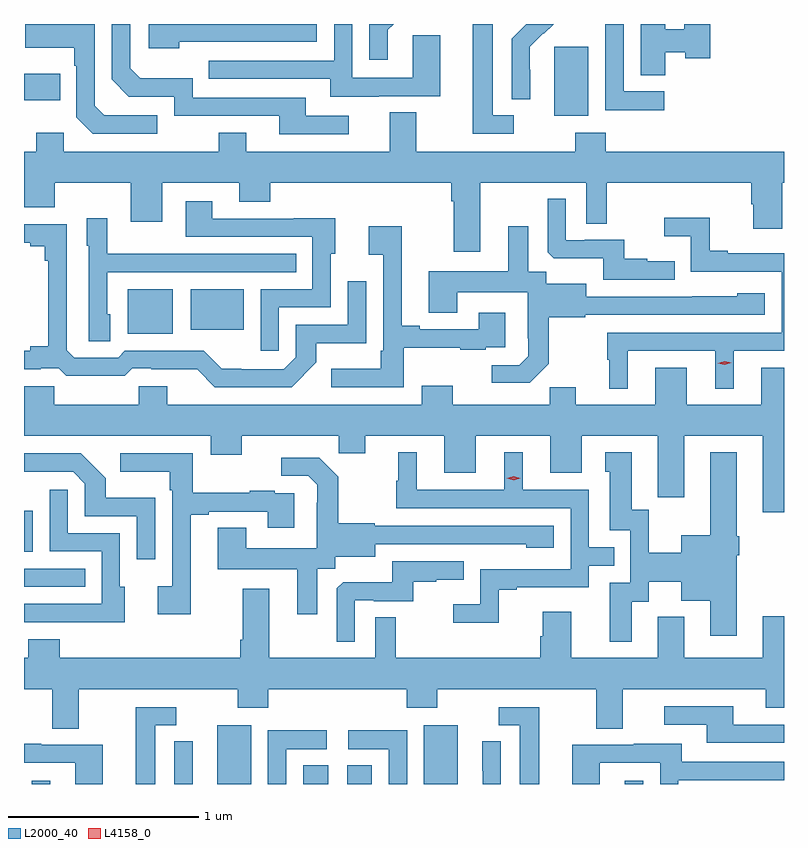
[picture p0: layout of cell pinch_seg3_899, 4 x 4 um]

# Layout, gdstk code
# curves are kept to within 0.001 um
import gdstk
lib = gdstk.Library(unit=1e-6, precision=1e-09)
def R(c, l, rs):  # rectangles x0, y0, x1, y1
    for r in rs: c.add(gdstk.rectangle(r[:2], r[2:], *l))
def P(c, l, *ps):  # polygons
    for p in ps: c.add(gdstk.Polygon(p, *l))
L2000_40 = (2000, 40)
L4158_0 = (4158, 0)

pinch_seg3_899 = lib.new_cell('pinch_seg3_899')
R(pinch_seg3_899, L2000_40, [(820.158,675.108,820.255,675.124), (821.132,675.108,821.311,675.418), (821.585,675.108,821.716,675.206), (821.816,675.108,821.947,675.206), (822.221,675.108,822.4,675.418), (823.277,675.108,823.374,675.124), (820.116,676.146,820.439,676.242), (820.116,676.331,820.162,676.546), (820.661,677.477,820.9,677.713), (820.994,677.498,821.272,677.713), (822.908,678.626,823.087,678.987), (820.116,678.707,820.307,678.847)])
P(pinch_seg3_899, L2000_40, [(820.934,679.014),(821.658,679.014),(821.658,679.108),(820.773,679.108),(820.773,678.98),(820.934,678.98)],
  [(822.694,678.627),(822.583,678.627),(822.583,679.108),(822.479,679.108),(822.479,678.531),(822.694,678.531)],
  [(822.031,679.077),(822.062,679.108),(821.934,679.108),(821.934,678.921),(822.031,678.921)],
  [(823.492,678.959),(823.596,678.959),(823.596,678.929),(823.727,678.929),(823.727,679.108),(823.592,679.108),(823.592,679.081),(823.492,679.081),(823.492,679.108),(823.361,679.108),(823.361,678.838),(823.492,678.838)],
  [(821.983,678.729),(822.307,678.729),(822.307,679.049),(822.162,679.049),(822.162,678.825),(821.844,678.825),(821.844,679.108),(821.748,679.108),(821.748,678.915),(821.089,678.915),(821.089,678.819),(821.729,678.819),(821.729,678.725),(821.983,678.725)],
  [(822.78,678.866),(822.779,678.866),(822.779,678.989),(822.849,679.059),(822.852,679.056),(822.904,679.108),(822.76,679.108),(822.756,679.104),(822.757,679.103),(822.684,679.03),(822.684,678.712),(822.78,678.712)],
  [(823.486,678.753),(823.272,678.753),(823.272,679.108),(823.174,679.108),(823.174,679.084),(823.176,679.084),(823.176,678.655),(823.486,678.655)],
  [(821.824,678.624),(821.599,678.624),(821.599,678.72),(821.004,678.72),(821.004,678.823),(820.727,678.823),(820.674,678.876),(820.674,679.108),(820.578,679.108),(820.578,678.816),(820.668,678.726),(820.908,678.726),(820.908,678.624),(821.459,678.624),(821.459,678.528),(821.824,678.528)],
  [(820.816,678.627),(820.539,678.627),(820.488,678.678),(820.488,679.108),(820.123,679.108),(820.123,678.983),(820.38,678.983),(820.38,678.887),(820.392,678.887),(820.392,678.618),(820.479,678.531),(820.816,678.531)],
  [(822.517,678.272),(823.074,678.272),(823.074,678.058),(823.183,678.058),(823.183,678.272),(823.943,678.272),(823.943,678.159),(823.955,678.159),(823.955,678.03),(824.107,678.03),(824.107,678.272),(824.116,678.272),(824.116,678.436),(823.178,678.436),(823.178,678.535),(823.018,678.535),(823.018,678.436),(822.181,678.436),(822.181,678.644),(822.041,678.644),(822.041,678.436),(821.287,678.436),(821.287,678.535),(821.14,678.535),(821.14,678.436),(820.326,678.436),(820.326,678.535),(820.18,678.535),(820.18,678.436),(820.116,678.436),(820.116,678.144),(820.279,678.144),(820.279,678.272),(820.679,678.272),(820.679,678.066),(820.843,678.066),(820.843,678.272),(821.249,678.272),(821.249,678.173),(821.413,678.173),(821.413,678.272),(822.365,678.272),(822.365,678.176),(822.377,678.176),(822.377,677.91),(822.517,677.91)],
  [(823.541,677.86),(823.397,677.86),(823.397,677.872),(823.274,677.872),(823.274,677.973),(823.066,677.973),(823.066,677.97),(822.966,677.97),(822.966,678.187),(822.873,678.187),(822.873,677.907),(822.905,677.876),(823.164,677.876),(823.164,677.763),(823.541,677.763)],
  [(821.457,677.616),(821.73,677.616),(821.73,677.898),(821.755,677.898),(821.755,678.086),(821.537,678.086),(821.537,678.084),(821.107,678.084),(821.107,678.175),(820.967,678.175),(820.967,677.988),(821.634,677.988),(821.634,677.712),(821.361,677.712),(821.361,677.388),(821.457,677.388)],
  [(823.294,677.388),(823.754,677.388),(823.754,677.189),(823.852,677.189),(823.852,677.388),(824.116,677.388),(824.116,677.901),(823.819,677.901),(823.819,677.914),(823.725,677.914),(823.725,678.089),(823.485,678.089),(823.485,677.99),(823.626,677.99),(823.626,677.805),(824.103,677.805),(824.103,677.484),(823.185,677.484),(823.185,677.34),(823.196,677.34),(823.196,677.189),(823.294,677.189)],
  [(820.57,677.58),(820.554,677.58),(820.554,677.802),(821.549,677.802),(821.549,677.898),(820.871,677.898),(820.871,677.899),(820.554,677.899),(820.554,678.085),(820.445,678.085),(820.445,677.94),(820.458,677.94),(820.458,677.437),(820.57,677.437)],
  [(821.655,677.327),(821.655,677.429),(821.916,677.429),(821.916,677.755),(821.82,677.755),(821.82,677.526),(821.547,677.526),(821.547,677.355),(821.484,677.292),(821.26,677.292),(821.26,677.294),(821.156,677.294),(821.061,677.388),(820.647,677.388),(820.611,677.352),(820.38,677.352),(820.341,677.391),(820.341,678.054),(820.116,678.054),(820.116,677.957),(820.148,677.957),(820.148,677.938),(820.225,677.938),(820.225,677.861),(820.244,677.861),(820.244,677.411),(820.148,677.411),(820.148,677.388),(820.116,677.388),(820.116,677.291),(820.205,677.291),(820.205,677.295),(820.299,677.295),(820.339,677.256),(820.647,677.256),(820.686,677.295),(820.786,677.295),(820.786,677.291),(821.027,677.291),(821.121,677.196),(821.524,677.196)],
  [(822.879,677.319),(822.879,677.565),(823.071,677.565),(823.071,677.577),(824.014,677.577),(824.014,677.692),(823.869,677.692),(823.869,677.674),(823.075,677.673),(823.075,677.74),(822.864,677.74),(822.864,677.804),(822.769,677.804),(822.769,678.043),(822.665,678.043),(822.665,677.806),(822.245,677.806),(822.245,677.587),(822.397,677.587),(822.397,677.696),(822.768,677.696),(822.768,677.455),(822.77,677.455),(822.77,677.36),(822.723,677.313),(822.579,677.313),(822.579,677.219),(822.779,677.219)],
  [(822.115,677.405),(822.413,677.405),(822.413,677.394),(822.545,677.394),(822.545,677.406),(822.649,677.406),(822.649,677.587),(822.509,677.587),(822.509,677.502),(822.199,677.502),(822.199,677.521),(822.103,677.521),(822.103,678.043),(821.931,678.043),(821.931,677.894),(822.006,677.894),(822.006,677.389),(821.994,677.389),(821.994,677.293),(821.733,677.293),(821.733,677.196),(822.115,677.196)],
  [(824.116,677.299),(823.997,677.299),(823.997,677.104),(823.603,677.104),(823.603,677.299),(823.439,677.299),(823.439,677.104),(823.021,677.104),(823.021,677.195),(822.883,677.195),(822.883,677.104),(822.373,677.104),(822.373,677.203),(822.209,677.203),(822.209,677.104),(820.87,677.104),(820.87,677.202),(820.72,677.202),(820.72,677.104),(820.275,677.104),(820.275,677.202),(820.116,677.202),(820.116,676.94),(821.099,676.94),(821.099,676.841),(821.263,676.841),(821.263,676.94),(821.773,676.94),(821.773,676.85),(821.911,676.85),(821.911,676.94),(822.329,676.94),(822.329,676.746),(822.493,676.746),(822.493,676.94),(822.887,676.94),(822.887,676.746),(823.051,676.746),(823.051,676.94),(823.451,676.94),(823.451,676.729),(823.452,676.729),(823.452,676.617),(823.591,676.617),(823.591,676.94),(824.003,676.94),(824.003,676.539),(824.116,676.539)],
  [(822.615,676.131),(822.709,676.131),(822.709,676.143),(823.089,676.143),(823.089,676.257),(823.223,676.257),(823.223,676.353),(823.089,676.353),(823.089,676.656),(822.742,676.656),(822.742,676.855),(822.644,676.855),(822.644,676.656),(822.184,676.656),(822.184,676.855),(822.086,676.855),(822.086,676.704),(822.075,676.704),(822.075,676.56),(822.993,676.56),(822.993,676.239),(822.516,676.239),(822.516,676.054),(822.375,676.054),(822.375,675.956),(822.615,675.956)],
  [(823.315,676.066),(823.405,676.066),(823.405,676.172),(823.574,676.172),(823.574,676.073),(823.727,676.073),(823.727,675.888),(823.867,675.888),(823.867,676.313),(823.88,676.313),(823.88,676.413),(823.867,676.413),(823.867,676.855),(823.727,676.855),(823.727,676.417),(823.574,676.417),(823.574,676.324),(823.404,676.324),(823.404,676.551),(823.315,676.551),(823.315,676.855),(823.175,676.855),(823.175,676.752),(823.199,676.752),(823.199,676.443),(823.308,676.443),(823.308,676.167),(823.199,676.167),(823.199,675.858),(823.315,675.858)],
  [(820.806,676.615),(820.545,676.615),(820.545,676.718),(820.414,676.848),(820.116,676.848),(820.116,676.751),(820.374,676.752),(820.437,676.689),(820.437,676.518),(820.71,676.518),(820.71,676.29),(820.806,676.29)],
  [(820.993,676.524),(821.089,676.524),(821.089,676.542),(821.399,676.542),(821.399,676.458),(821.539,676.458),(821.539,676.638),(821.435,676.638),(821.435,676.651),(821.303,676.651),(821.303,676.64),(821.005,676.64),(821.005,676.848),(820.623,676.848),(820.623,676.751),(820.884,676.751),(820.884,676.655),(820.896,676.655),(820.896,676.15),(820.821,676.15),(820.821,676.002),(820.993,676.002)],
  [(821.659,676.24),(821.754,676.24),(821.754,676.304),(821.965,676.304),(821.965,676.371),(822.759,676.37),(822.759,676.352),(822.904,676.352),(822.904,676.467),(821.961,676.467),(821.961,676.48),(821.769,676.48),(821.769,676.725),(821.669,676.825),(821.469,676.825),(821.469,676.731),(821.613,676.731),(821.66,676.684),(821.66,676.589),(821.658,676.589),(821.658,676.348),(821.287,676.348),(821.287,676.457),(821.135,676.457),(821.135,676.238),(821.555,676.238),(821.555,676.002),(821.659,676.002)],
  [(820.645,676.146),(820.62,676.146),(820.62,676.428),(820.347,676.428),(820.347,676.657),(820.251,676.657),(820.251,676.332),(820.524,676.332),(820.524,676.056),(820.116,676.056),(820.116,675.96),(820.427,675.96),(820.427,675.959),(820.645,675.959)],
  [(821.856,676.074),(821.956,676.074),(821.956,676.071),(822.164,676.071),(822.164,676.173),(822.287,676.173),(822.287,676.184),(822.431,676.184),(822.431,676.281),(822.054,676.281),(822.054,676.169),(821.795,676.169),(821.763,676.137),(821.763,675.857),(821.856,675.857)],
  [(820.405,675.608),(821.242,675.608),(821.242,675.509),(821.402,675.509),(821.402,675.608),(822.131,675.608),(822.131,675.509),(822.291,675.509),(822.291,675.608),(823.127,675.608),(823.127,675.4),(823.267,675.4),(823.267,675.608),(824.021,675.608),(824.021,675.509),(824.116,675.509),(824.116,675.991),(824.003,675.991),(824.003,675.772),(823.591,675.772),(823.591,675.988),(823.451,675.988),(823.451,675.772),(822.997,675.772),(822.997,676.015),(822.845,676.015),(822.845,675.885),(822.833,675.885),(822.833,675.772),(822.073,675.772),(822.073,675.986),(821.964,675.986),(821.964,675.772),(821.407,675.772),(821.407,676.135),(821.267,676.135),(821.267,675.868),(821.255,675.868),(821.255,675.772),(820.303,675.772),(820.303,675.871),(820.139,675.871),(820.139,675.772),(820.116,675.772),(820.116,675.608),(820.265,675.608),(820.265,675.4),(820.405,675.4)],
  [(824.116,675.42),(823.849,675.42),(823.849,675.516),(823.485,675.516),(823.485,675.42),(823.709,675.42),(823.709,675.324),(824.116,675.324)],
  [(820.807,675.417),(820.918,675.417),(820.918,675.513),(820.703,675.513),(820.703,675.108),(820.807,675.108)],
  [(822.829,675.513),(822.615,675.513),(822.615,675.417),(822.725,675.417),(822.725,675.108),(822.829,675.108)],
  [(822.132,675.39),(821.823,675.39),(821.823,675.291),(822.036,675.291),(822.036,675.108),(822.132,675.108)],
  [(821.496,675.291),(821.71,675.291),(821.71,675.39),(821.4,675.39),(821.4,675.108),(821.496,675.108)],
  [(822.624,675.332),(822.528,675.332),(822.528,675.178),(822.53,675.178),(822.53,675.108),(822.624,675.108)],
  [(821.003,675.178),(821.004,675.178),(821.004,675.332),(820.908,675.332),(820.908,675.108),(821.003,675.108)],
  [(820.531,675.315),(820.207,675.315),(820.207,675.319),(820.116,675.319),(820.116,675.219),(820.386,675.219),(820.386,675.108),(820.531,675.108)],
  [(823.146,675.219),(823.464,675.219),(823.464,675.108),(823.56,675.108),(823.56,675.129),(824.116,675.129),(824.116,675.225),(823.579,675.225),(823.579,675.319),(823.325,675.319),(823.325,675.315),(823.001,675.315),(823.001,675.108),(823.146,675.108)])
P(pinch_seg3_899, L4158_0, [(823.803,677.314),(823.767,677.323),(823.767,677.323),(823.767,677.323),(823.803,677.334),(823.839,677.326),(823.839,677.326),(823.839,677.326)],
  [(822.693,676.707),(822.657,676.717),(822.657,676.718),(822.657,676.718),(822.693,676.728),(822.729,676.718),(822.729,676.718),(822.729,676.717)])

lib.write_gds('pinch_seg3_899.gds')
